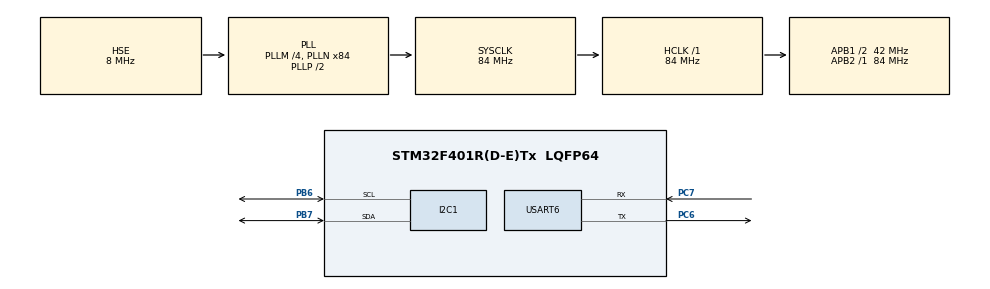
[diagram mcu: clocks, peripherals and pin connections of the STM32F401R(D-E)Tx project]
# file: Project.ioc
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Mcu.Family=STM32F4
Mcu.Name=STM32F401R(D-E)Tx
Mcu.Package=LQFP64
NVIC.PriorityGroup=NVIC_PRIORITYGROUP_4
PB6.Mode=I2C
PB6.Signal=I2C1_SCL
PB7.Mode=I2C
PB7.Signal=I2C1_SDA
PC6.Mode=Asynchronous
PC6.Signal=USART6_TX
PC7.Mode=Asynchronous
PC7.Signal=USART6_RX
PH0\ -\ OSC_IN.Mode=HSE-External-Clock-Source
PH0\ -\ OSC_IN.Signal=RCC_OSC_IN
PH1\ -\ OSC_OUT.Mode=HSE-External-Clock-Source
PH1\ -\ OSC_OUT.Signal=RCC_OSC_OUT
ProjectManager.HeapSize=0x200
ProjectManager.StackSize=0x400
ProjectManager.TargetToolchain=MDK-ARM V5.32
RCC.48MHZClocksFreq_Value=42000000
RCC.AHBFreq_Value=84000000
RCC.APB1CLKDivider=RCC_HCLK_DIV2
RCC.APB1Freq_Value=42000000
RCC.APB1TimFreq_Value=84000000
RCC.APB2Freq_Value=84000000
RCC.APB2TimFreq_Value=84000000
RCC.CortexFreq_Value=84000000
RCC.HCLKFreq_Value=84000000
RCC.HSE_VALUE=8000000
RCC.HSI_VALUE=16000000
RCC.LSE_VALUE=32768
RCC.PLLM=4
RCC.PLLN=84
RCC.PLLSourceVirtual=RCC_PLLSOURCE_HSE
RCC.SYSCLKFreq_VALUE=84000000
RCC.SYSCLKSource=RCC_SYSCLKSOURCE_PLLCLK
RCC.VCOOutputFreq_Value=168000000
USART6.VirtualMode=VM_ASYNC
board=custom

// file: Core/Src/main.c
/* USER CODE BEGIN Header */
/**
  ******************************************************************************
  * @file           : main.c
  * @brief          : Main program body
  ******************************************************************************
  */
/* USER CODE END Header */

#include "main.h"
#include "bme280.h"
#include <stdio.h>
#include <string.h>
#include "ESPLib.h"

I2C_HandleTypeDef hi2c1;
UART_HandleTypeDef huart6;

/* USER CODE BEGIN PV */
extern I2C_HandleTypeDef hi2c1;

struct bme280_dev dev;
struct bme280_data comp_data;

int8_t rslt = BME280_OK;

float temperature;
float pressure;
float humidity;

char mqttMessage[150];

/* USER CODE END PV */

void SystemClock_Config(void);
static void MX_GPIO_Init(void);
static void MX_I2C1_Init(void);
static void MX_USART6_UART_Init(void);

/* USER CODE BEGIN PFP */
int8_t user_i2c_read(uint8_t reg_addr,
                     uint8_t *reg_data,
                     uint32_t len,
                     void *intf_ptr);

int8_t user_i2c_write(uint8_t reg_addr,
                      const uint8_t *reg_data,
                      uint32_t len,
                      void *intf_ptr);

void user_delay_us(uint32_t period, void *intf_ptr);

/* USER CODE END PFP */

int main(void)
{
    HAL_Init();

    SystemClock_Config();

    MX_GPIO_Init();
    MX_I2C1_Init();
    MX_USART6_UART_Init();

    /* USER CODE BEGIN 2 */

    static uint8_t dev_addr = BME280_I2C_ADDR_PRIM;

    dev.intf_ptr = &dev_addr;
    dev.intf = BME280_I2C_INTF;
    dev.read = user_i2c_read;
    dev.write = user_i2c_write;
    dev.delay_us = user_delay_us;

    /* Initialize BME280 */
    rslt = bme280_init(&dev);

    /* Configure BME280 */
    struct bme280_settings settings = {0};

    settings.osr_h = BME280_OVERSAMPLING_1X;
    settings.osr_p = BME280_OVERSAMPLING_1X;
    settings.osr_t = BME280_OVERSAMPLING_1X;
    settings.filter = BME280_FILTER_COEFF_OFF;

    rslt = bme280_set_sensor_settings(
        BME280_SEL_OSR_PRESS |
        BME280_SEL_OSR_TEMP |
        BME280_SEL_OSR_HUM |
        BME280_SEL_FILTER,
        &settings,
        &dev
    );

    /* Set BME280 to normal mode */
    rslt = bme280_set_sensor_mode(BME280_POWERMODE_NORMAL, &dev);

    /* Initialize ESP8266 */
    ESP8266_Init(StationMode, huart6);

    /* Connect ESP8266 to WiFi */
    ESP8266_wifiConnect("SNUC", "snu12345");

    /* Connect to MQTT broker */
    ESP8266_portConnect("TCP", "broker.emqx.io", "1883");

    /* MQTT Configuration */
    MQTT_InitTypeDef_t mqttSetting;

    mqttSetting.keepAlive = 500;
    mqttSetting.connectFlag = CleanSession;
    mqttSetting.clientID = "STM32_Publisher";

    /* Connect to MQTT broker */
    MQTT_connectBroker(&mqttSetting);

    /* USER CODE END 2 */

    /* Infinite loop */
    while (1)
    {

        rslt = bme280_get_sensor_data(BME280_ALL, &comp_data, &dev);

        if (rslt == BME280_OK)
        {
            temperature = comp_data.temperature;
            pressure = comp_data.pressure / 100.0f;
            humidity = comp_data.humidity;

            snprintf(mqttMessage, sizeof(mqttMessage),
                     "{\"temperature\":%.2f,\"pressure\":%.2f,\"humidity\":%.2f}",
                     temperature,
                     pressure,
                     humidity);

            MQTT_publishTopic("stm32/amruthas/data", mqttMessage, QoS0);
        }

        HAL_Delay(2000);

    }
}

void SystemClock_Config(void)
{
    RCC_OscInitTypeDef RCC_OscInitStruct = {0};
    RCC_ClkInitTypeDef RCC_ClkInitStruct = {0};

    __HAL_RCC_PWR_CLK_ENABLE();
    __HAL_PWR_VOLTAGESCALING_CONFIG(PWR_REGULATOR_VOLTAGE_SCALE2);

    RCC_OscInitStruct.OscillatorType = RCC_OSCILLATORTYPE_HSE;
    RCC_OscInitStruct.HSEState = RCC_HSE_BYPASS;
    RCC_OscInitStruct.PLL.PLLState = RCC_PLL_ON;
    RCC_OscInitStruct.PLL.PLLSource = RCC_PLLSOURCE_HSE;
    RCC_OscInitStruct.PLL.PLLM = 4;
    RCC_OscInitStruct.PLL.PLLN = 84;
    RCC_OscInitStruct.PLL.PLLP = RCC_PLLP_DIV2;
    RCC_OscInitStruct.PLL.PLLQ = 4;

    if (HAL_RCC_OscConfig(&RCC_OscInitStruct) != HAL_OK)
    {
        Error_Handler();
    }

    RCC_ClkInitStruct.ClockType = RCC_CLOCKTYPE_HCLK |
                                  RCC_CLOCKTYPE_SYSCLK |
                                  RCC_CLOCKTYPE_PCLK1 |
                                  RCC_CLOCKTYPE_PCLK2;

    RCC_ClkInitStruct.SYSCLKSource = RCC_SYSCLKSOURCE_PLLCLK;
    RCC_ClkInitStruct.AHBCLKDivider = RCC_SYSCLK_DIV1;
    RCC_ClkInitStruct.APB1CLKDivider = RCC_HCLK_DIV2;
    RCC_ClkInitStruct.APB2CLKDivider = RCC_HCLK_DIV1;

    if (HAL_RCC_ClockConfig(&RCC_ClkInitStruct, FLASH_LATENCY_2) != HAL_OK)
    {
        Error_Handler();
    }
}

static void MX_I2C1_Init(void)
{
    hi2c1.Instance = I2C1;
    hi2c1.Init.ClockSpeed = 100000;
    hi2c1.Init.DutyCycle = I2C_DUTYCYCLE_2;
    hi2c1.Init.OwnAddress1 = 0;
    hi2c1.Init.AddressingMode = I2C_ADDRESSINGMODE_7BIT;
    hi2c1.Init.DualAddressMode = I2C_DUALADDRESS_DISABLE;
    hi2c1.Init.OwnAddress2 = 0;
    hi2c1.Init.GeneralCallMode = I2C_GENERALCALL_DISABLE;
    hi2c1.Init.NoStretchMode = I2C_NOSTRETCH_DISABLE;

    if (HAL_I2C_Init(&hi2c1) != HAL_OK)
    {
        Error_Handler();
    }
}

static void MX_USART6_UART_Init(void)
{
    huart6.Instance = USART6;
    huart6.Init.BaudRate = 115200;
    huart6.Init.WordLength = UART_WORDLENGTH_8B;
    huart6.Init.StopBits = UART_STOPBITS_1;
    huart6.Init.Parity = UART_PARITY_NONE;
    huart6.Init.Mode = UART_MODE_TX_RX;
    huart6.Init.HwFlowCtl = UART_HWCONTROL_NONE;
    huart6.Init.OverSampling = UART_OVERSAMPLING_16;

    if (HAL_UART_Init(&huart6) != HAL_OK)
    {
        Error_Handler();
    }
}

static void MX_GPIO_Init(void)
{
    __HAL_RCC_GPIOH_CLK_ENABLE();
    __HAL_RCC_GPIOC_CLK_ENABLE();
    __HAL_RCC_GPIOB_CLK_ENABLE();
}

/* USER CODE BEGIN 4 */

/* Read BME280 registers */
int8_t user_i2c_read(uint8_t reg_addr,
                     uint8_t *reg_data,
                     uint32_t len,
                     void *intf_ptr)
{
    uint8_t dev_addr = *(uint8_t *)intf_ptr;

    HAL_StatusTypeDef status = HAL_I2C_Mem_Read(
        &hi2c1,
        (uint16_t)(dev_addr << 1),
        reg_addr,
        I2C_MEMADD_SIZE_8BIT,
        reg_data,
        len,
        1000
    );

    if (status == HAL_OK)
    {
        return BME280_OK;
    }

    return BME280_E_COMM_FAIL;
}

/* Write BME280 registers */
int8_t user_i2c_write(uint8_t reg_addr,
                      const uint8_t *reg_data,
                      uint32_t len,
                      void *intf_ptr)
{
    uint8_t dev_addr = *(uint8_t *)intf_ptr;

    HAL_StatusTypeDef status = HAL_I2C_Mem_Write(
        &hi2c1,
        (uint16_t)(dev_addr << 1),
        reg_addr,
        I2C_MEMADD_SIZE_8BIT,
        (uint8_t *)reg_data,
        len,
        1000
    );

    if (status == HAL_OK)
    {
        return BME280_OK;
    }

    return BME280_E_COMM_FAIL;
}

/* BME280 delay function */
void user_delay_us(uint32_t period, void *intf_ptr)
{
    (void)intf_ptr;

    HAL_Delay((period / 1000U) +
              ((period % 1000U) != 0U));
}

/* Library timer callback */
void HAL_SYSTICK_Callback(void)
{
    MQTTTimer();
}

/* USER CODE END 4 */

/**
  * @brief Error Handler
  */
void Error_Handler(void)
{
    __disable_irq();

    while (1)
    {
    }
}
